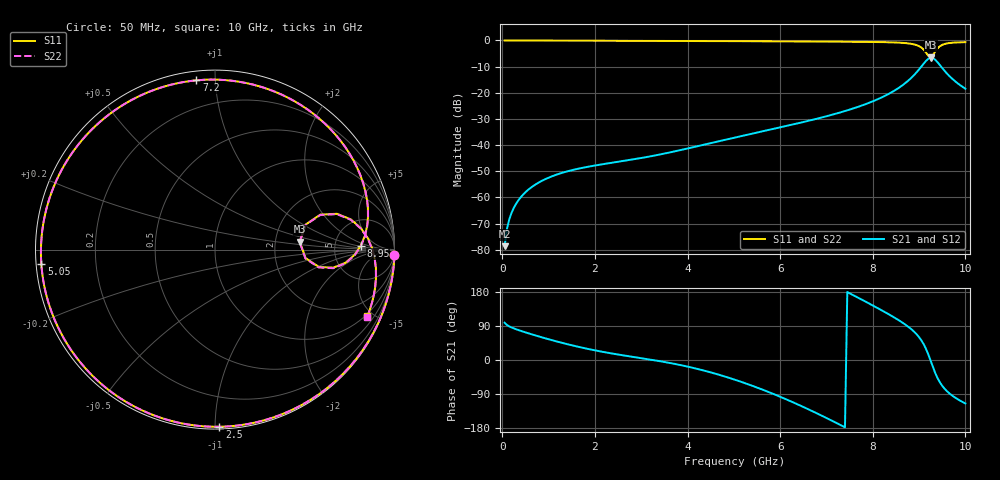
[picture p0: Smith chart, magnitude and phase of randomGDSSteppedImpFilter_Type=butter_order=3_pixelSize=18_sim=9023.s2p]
! freq	dB(S11)	phase(S11)	dB(S12)	phase(S12)
!  dB(S21)	phase(S21)	dB(S22)	phase(S22)
!S-par simulation data
#  GHz  S  DB  R 50
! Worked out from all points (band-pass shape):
!   200 points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, 50 MHz to 10 GHz, reference 50 ohm
!   highest |S21| = -6.60 dB at 9.25 GHz (marker M1); lowest = -78.6 dB at 50 MHz (marker M2)
!   |S21| within 3 dB of the highest: 9.066 GHz to 9.457 GHz (390.9 MHz wide, 4.22 % of centre)
!   lowest |S11| = -6.5 dB at 9.25 GHz (marker M3), VSWR 2.80, Z = 138 + j15.8 ohm
!   |S11| at or under -10 dB: nowhere
!   |S22| runs from -6.5 to 0.0 dB; largest |S21 - S12| = 0
!   S11 on the Smith chart (normalised r, x): 50 MHz: 0, -62; 2.5 GHz: 0.01, -1.02; 5.05 GHz: 0.01, -0.04; 7.2 GHz: 0.05, +0.90; 8.95 GHz: 9.50, +1.21; 10 GHz: 0.87, -4.62
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0.05  -0.00 -1.8  -78.65 98.4  -78.65 98.4  -0.00 -1.8
0.1  -0.00 -3.7  -72.07 92.4  -72.07 92.4  -0.00 -3.7
0.2  -0.00 -7.4  -65.89 85.8  -65.89 85.8  -0.00 -7.4
0.5  -0.02 -18.3  -58.02 72.9  -58.02 72.9  -0.02 -18.3
1  -0.04 -36.4  -52.46 54.8  -52.46 54.8  -0.04 -36.4
1.75  -0.08 -62.9  -48.62 31.9  -48.62 31.9  -0.08 -62.9
2.5  -0.11 -88.6  -46.40 14.4  -46.40 14.4  -0.11 -88.6
3.4  -0.15 -118.8  -43.61 -3.1  -43.61 -3.1  -0.15 -118.8
4.3  -0.20 -149.1  -40.08 -26.2  -40.08 -26.2  -0.20 -149.1
5.05  -0.26 -175.3  -37.02 -53.1  -37.02 -53.1  -0.26 -175.4
5.9  -0.33 152.6  -33.63 -91.9  -33.63 -91.9  -0.33 152.5
6.7  -0.40 119.1  -30.33 -135.3  -30.33 -135.3  -0.41 119.0
7.2  -0.46 96.3  -28.02 -165.2  -28.02 -165.2  -0.46 96.1
7.75  -0.53 69.5  -24.96 160.1  -24.96 160.1  -0.53 69.3
8.35  -0.69 38.3  -20.37 120.3  -20.37 120.3  -0.69 38.0
8.7  -1.00 18.3  -16.34 93.7  -16.34 93.7  -1.00 18.0
8.95  -1.81 1.5  -12.10 67.5  -12.10 67.5  -1.81 1.2
9.15  -4.62 -9.5  -7.81 29.0  -7.81 29.0  -4.63 -9.8
9.25  -6.48 5.4  -6.60 -2.3  -6.60 -2.3  -6.50 5.1
9.4  -3.00 16.4  -8.35 -48.1  -8.35 -48.1  -3.00 16.2
9.6  -1.15 0.3  -12.60 -82.1  -12.60 -82.1  -1.15 0.1
10  -0.66 -23.7  -18.46 -114.7  -18.46 -114.7  -0.66 -23.9
